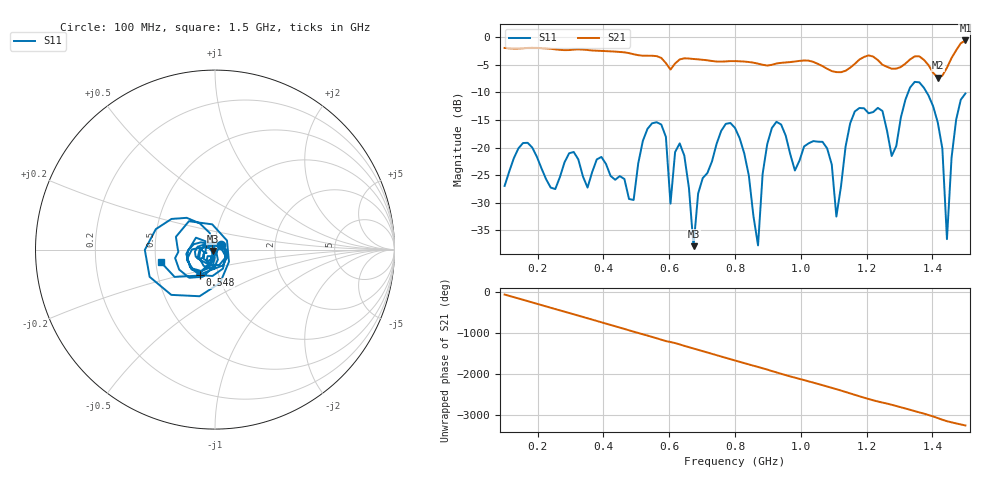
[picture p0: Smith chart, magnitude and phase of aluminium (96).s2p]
! NanoVNA-App
! Date: 2025-09-26 09:58:48
! Start: 100MHz Stop: 1,5GHz Points: 101
! S-Parameter data: F S11 S21 S12 S22
# Hz S RI R 50
!  Frequency  S11_Real  S11_Imag  S21_Real  S21_Imag  S12_Real  S12_Imag  S22_Real  S22_Imag
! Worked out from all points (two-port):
!   101 points, 100 MHz to 1.5 GHz, reference 50 ohm
!   highest |S21| = -0.55 dB at 1.5 GHz (marker M1); lowest = -7.3 dB at 1.416 GHz (marker M2)
!   |S21| within 3 dB of the highest: start of sweep to 568.7 MHz; 1.192 GHz to 1.222 GHz (29.57 MHz wide, 2.45 % of centre) (the widest 2 of 4)
!   lowest |S11| = -37.9 dB at 674 MHz (marker M3), VSWR 1.03, Z = 49 - j0.747 ohm
!   |S11| at or under -10 dB: start of sweep to 1.326 GHz; 1.382 GHz to end of sweep
!   S12 and S22 are empty: the file has one direction only
!   S11 on the Smith chart (normalised r, x): 100 MHz: 1.07, +0.06; 548 MHz: 0.81, -0.24; 1.5 GHz: 0.53, -0.08
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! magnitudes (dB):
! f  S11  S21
! 100 MHz  -27.0  -1.9
! 156 MHz  -19.2  -2.0
! 338 MHz  -25.3  -2.2
! 492 MHz  -29.5  -3.1
! 548 MHz  -15.6  -3.3
! 576 MHz  -15.8  -3.7
! 604 MHz  -30.2  -5.8
! 646 MHz  -21.5  -3.8
! 674 MHz  -37.9  -3.9
! 702 MHz  -25.5  -4.1
! 800 MHz  -16.4  -4.3
! 870 MHz  -37.8  -4.8
! 912 MHz  -16.5  -5.0
! 1.038 GHz  -18.8  -4.4
! 1.108 GHz  -32.5  -6.3
! 1.164 GHz  -13.4  -4.8
! 1.276 GHz  -21.5  -5.7
! 1.346 GHz  -8.1  -3.4
! 1.416 GHz  -15.4  -7.3
! 1.444 GHz  -36.6  -5.5
! 1.472 GHz  -14.9  -2.3
! 1.5 GHz  -10.2  -0.6
